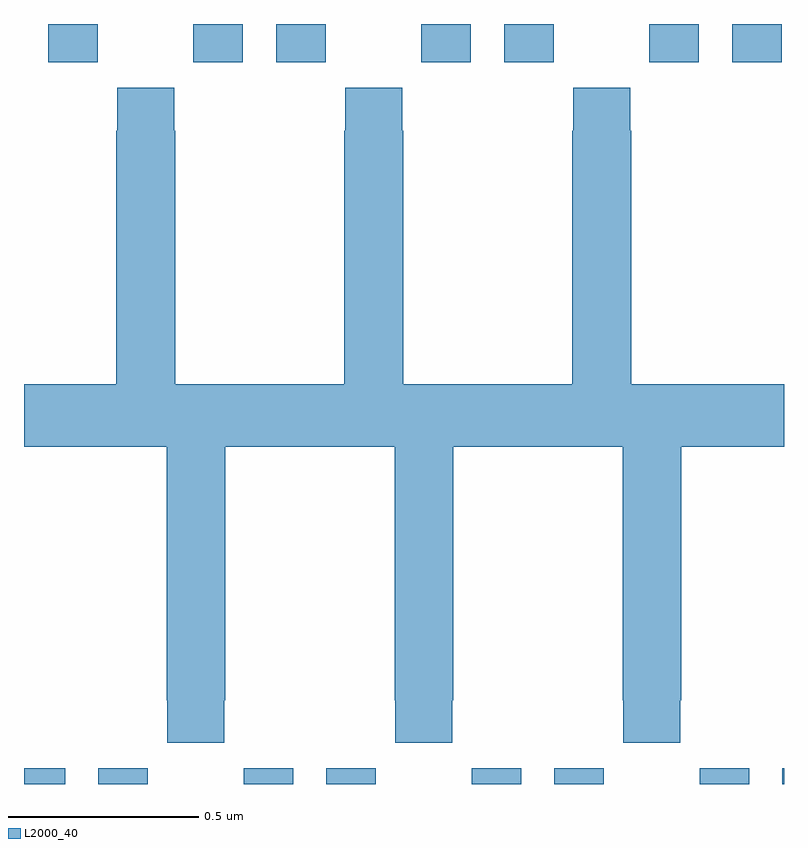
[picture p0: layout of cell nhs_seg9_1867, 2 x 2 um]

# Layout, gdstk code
import gdstk
lib = gdstk.Library(unit=1e-6, precision=1e-09)
def R(c, l, rs):  # rectangles x0, y0, x1, y1
    for r in rs: c.add(gdstk.rectangle(r[:2], r[2:], *l))
def P(c, l, *ps):  # polygons
    for p in ps: c.add(gdstk.Polygon(p, *l))
L2000_40 = (2000, 40)

nhs_seg9_1867 = lib.new_cell('nhs_seg9_1867')
R(nhs_seg9_1867, L2000_40, [(133,1227.5,133.108,1227.541), (133.196,1227.5,133.326,1227.541), (133.578,1227.5,133.708,1227.541), (133.796,1227.5,133.926,1227.541), (134.178,1227.5,134.308,1227.541), (134.396,1227.5,134.526,1227.541), (134.778,1227.5,134.908,1227.541), (134.996,1227.5,135,1227.541), (133.064,1229.4,133.194,1229.5), (133.446,1229.4,133.576,1229.5), (133.664,1229.4,133.794,1229.5), (134.046,1229.4,134.176,1229.5), (134.264,1229.4,134.394,1229.5), (134.646,1229.4,134.776,1229.5), (134.864,1229.4,134.994,1229.5)])
P(nhs_seg9_1867, L2000_40, [(133.527,1227.721),(133.53,1227.721),(133.53,1228.388),(133.975,1228.388),(133.975,1227.721),(133.977,1227.721),(133.977,1227.609),(134.127,1227.609),(134.127,1227.721),(134.13,1227.721),(134.13,1228.388),(134.575,1228.388),(134.575,1227.721),(134.577,1227.721),(134.577,1227.609),(134.727,1227.609),(134.727,1227.721),(134.73,1227.721),(134.73,1228.388),(135,1228.388),(135,1228.552),(134.598,1228.552),(134.598,1229.219),(134.595,1229.219),(134.595,1229.332),(134.445,1229.332),(134.445,1229.219),(134.443,1229.219),(134.443,1228.552),(133.998,1228.552),(133.998,1229.219),(133.995,1229.219),(133.995,1229.332),(133.845,1229.332),(133.845,1229.219),(133.843,1229.219),(133.843,1228.552),(133.398,1228.552),(133.398,1229.219),(133.395,1229.219),(133.395,1229.332),(133.245,1229.332),(133.245,1229.219),(133.243,1229.219),(133.243,1228.552),(133,1228.552),(133,1228.388),(133.375,1228.388),(133.375,1227.721),(133.377,1227.721),(133.377,1227.609),(133.527,1227.609)])

lib.write_gds('nhs_seg9_1867.gds')
